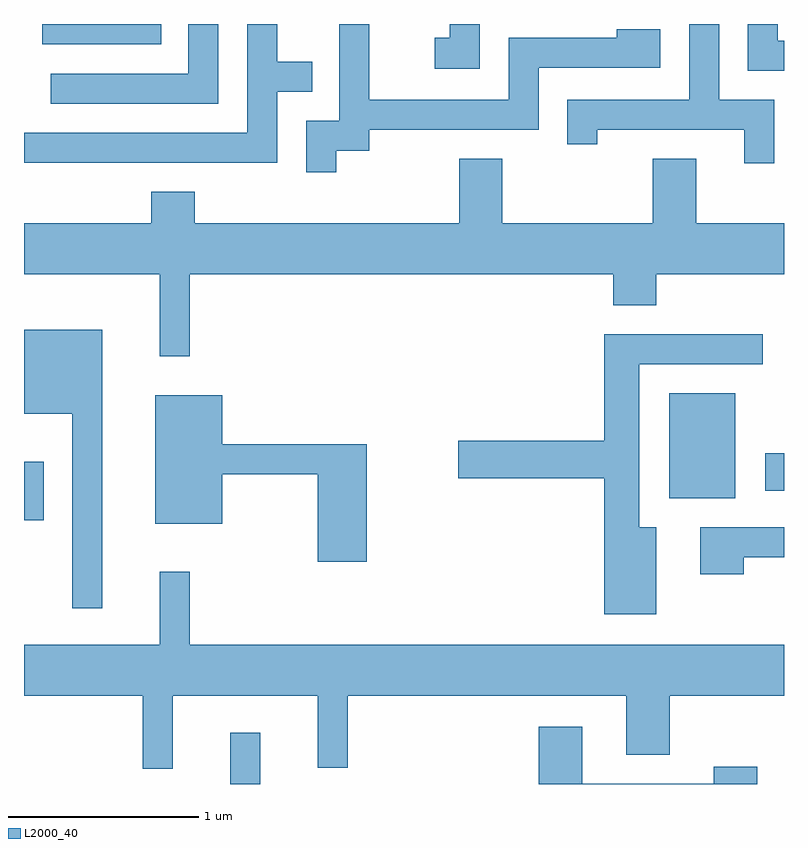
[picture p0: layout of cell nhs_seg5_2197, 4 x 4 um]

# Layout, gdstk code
import gdstk
lib = gdstk.Library(unit=1e-6, precision=1e-09)
def R(c, l, rs):  # rectangles x0, y0, x1, y1
    for r in rs: c.add(gdstk.rectangle(r[:2], r[2:], *l))
def P(c, l, *ps):  # polygons
    for p in ps: c.add(gdstk.Polygon(p, *l))
L2000_40 = (2000, 40)

nhs_seg5_2197 = lib.new_cell('nhs_seg5_2197')
R(nhs_seg5_2197, L2000_40, [(250.696,1494.072,250.854,1494.343), (249.611,1495.461,249.714,1495.769), (253.006,1495.576,253.354,1496.129), (253.511,1495.616,253.611,1495.814), (249.706,1497.966,250.333,1498.072)])
P(nhs_seg5_2197, L2000_40, [(253.611,1497.984),(253.579,1497.984),(253.579,1498.072),(253.421,1498.072),(253.421,1497.826),(253.611,1497.826)],
  [(251.254,1497.406),(251.429,1497.406),(251.429,1497.516),(252.319,1497.516),(252.319,1497.841),(252.959,1497.841),(252.959,1498.044),(252.731,1498.044),(252.731,1497.999),(252.161,1497.999),(252.161,1497.674),(251.429,1497.674),(251.429,1498.072),(251.271,1498.072),(251.271,1497.564),(251.096,1497.564),(251.096,1497.293),(251.254,1497.293)],
  [(250.634,1498.072),(250.476,1498.072),(250.476,1497.809),(249.753,1497.809),(249.753,1497.651),(250.634,1497.651)],
  [(250.944,1497.716),(251.128,1497.716),(251.128,1497.874),(250.944,1497.874),(250.944,1498.072),(250.786,1498.072),(250.786,1497.499),(249.611,1497.499),(249.611,1497.341),(250.944,1497.341)],
  [(253.559,1497.674),(253.269,1497.674),(253.269,1498.072),(253.111,1498.072),(253.111,1497.674),(252.471,1497.674),(252.471,1497.438),(252.629,1497.438),(252.629,1497.516),(253.401,1497.516),(253.401,1497.338),(253.559,1497.338)],
  [(252.009,1498.072),(251.851,1498.072),(251.851,1497.999),(251.773,1497.999),(251.773,1497.836),(252.009,1497.836)],
  [(250.484,1496.756),(252.711,1496.756),(252.711,1496.591),(252.939,1496.591),(252.939,1496.756),(253.611,1496.756),(253.611,1497.024),(253.149,1497.024),(253.149,1497.364),(252.921,1497.364),(252.921,1497.024),(252.129,1497.024),(252.129,1497.364),(251.901,1497.364),(251.901,1497.024),(250.509,1497.024),(250.509,1497.189),(250.281,1497.189),(250.281,1497.024),(249.611,1497.024),(249.611,1496.756),(250.326,1496.756),(250.326,1496.323),(250.484,1496.323)],
  [(250.024,1496.464),(249.611,1496.464),(249.611,1496.021),(249.866,1496.021),(249.866,1494.998),(250.024,1494.998)],
  [(252.939,1495.424),(252.849,1495.424),(252.849,1496.281),(253.498,1496.281),(253.498,1496.439),(252.666,1496.439),(252.666,1495.879),(251.896,1495.879),(251.896,1495.681),(252.666,1495.681),(252.666,1494.966),(252.939,1494.966)],
  [(251.414,1495.859),(250.654,1495.859),(250.654,1496.119),(250.301,1496.119),(250.301,1495.441),(250.654,1495.441),(250.654,1495.701),(251.156,1495.701),(251.156,1495.241),(251.414,1495.241)],
  [(253.399,1495.266),(253.611,1495.266),(253.611,1495.424),(253.171,1495.424),(253.171,1495.176),(253.399,1495.176)],
  [(250.394,1494.536),(251.156,1494.536),(251.156,1494.158),(251.314,1494.158),(251.314,1494.536),(252.781,1494.536),(252.781,1494.226),(253.009,1494.226),(253.009,1494.536),(253.611,1494.536),(253.611,1494.804),(250.484,1494.804),(250.484,1495.188),(250.326,1495.188),(250.326,1494.804),(249.611,1494.804),(249.611,1494.536),(250.236,1494.536),(250.236,1494.153),(250.394,1494.153)],
  [(253.469,1494.164),(253.241,1494.164),(253.241,1494.074),(252.549,1494.074),(252.549,1494.374),(252.321,1494.374),(252.321,1494.072),(253.469,1494.072)])

lib.write_gds('nhs_seg5_2197.gds')
